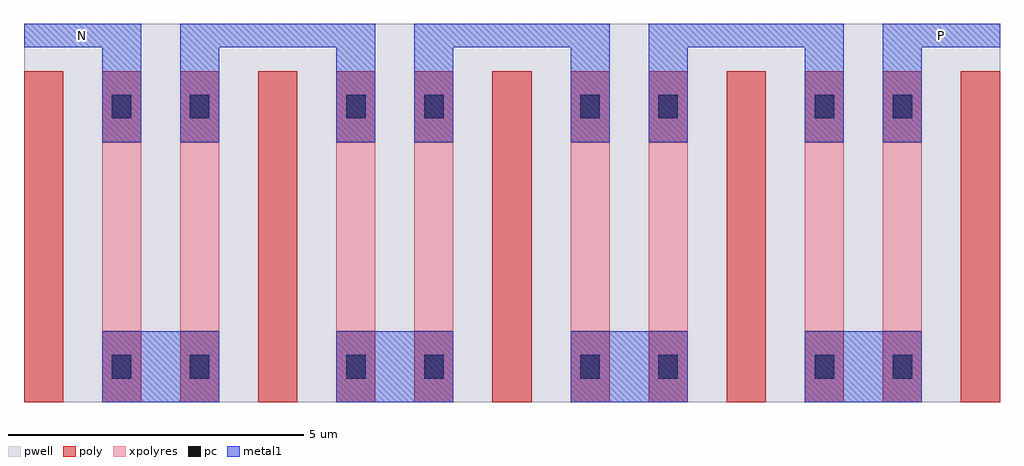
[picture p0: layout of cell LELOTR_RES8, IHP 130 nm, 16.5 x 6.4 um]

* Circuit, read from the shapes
.subckt LELOTR_RES8 N P
XR1 N n1 xpolyres w=0.66u l=3.2u
XR2 n2 n1 xpolyres w=0.66u l=3.2u
XR3 n2 n3 xpolyres w=0.66u l=3.2u
XR4 n4 n3 xpolyres w=0.66u l=3.2u
XR5 n4 n5 xpolyres w=0.66u l=3.2u
XR6 n6 n5 xpolyres w=0.66u l=3.2u
XR7 n6 n7 xpolyres w=0.66u l=3.2u
XR8 P n7 xpolyres w=0.66u l=3.2u
.ends

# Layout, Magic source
magic
tech ihp-sg13g2
magscale 1 2
<< poly >>
rect 198 -40 330 40
rect 462 -40 594 40
rect 990 -40 1122 40
rect 1254 -40 1386 40
rect 1782 -40 1914 40
rect 2046 -40 2178 40
rect 2574 -40 2706 40
rect 2838 -40 2970 40
rect 198 40 330 120
rect 462 40 594 120
rect 990 40 1122 120
rect 1254 40 1386 120
rect 1782 40 1914 120
rect 2046 40 2178 120
rect 2574 40 2706 120
rect 2838 40 2970 120
rect 198 120 330 200
rect 462 120 594 200
rect 990 120 1122 200
rect 1254 120 1386 200
rect 1782 120 1914 200
rect 2046 120 2178 200
rect 2574 120 2706 200
rect 2838 120 2970 200
rect 198 840 330 920
rect 462 840 594 920
rect 990 840 1122 920
rect 1254 840 1386 920
rect 1782 840 1914 920
rect 2046 840 2178 920
rect 2574 840 2706 920
rect 2838 840 2970 920
rect 198 920 330 1000
rect 462 920 594 1000
rect 990 920 1122 1000
rect 1254 920 1386 1000
rect 1782 920 1914 1000
rect 2046 920 2178 1000
rect 2574 920 2706 1000
rect 2838 920 2970 1000
rect 198 1000 330 1080
rect 462 1000 594 1080
rect 990 1000 1122 1080
rect 1254 1000 1386 1080
rect 1782 1000 1914 1080
rect 2046 1000 2178 1080
rect 2574 1000 2706 1080
rect 2838 1000 2970 1080
rect -66 -40 66 40
rect 726 -40 858 40
rect 1518 -40 1650 40
rect 2310 -40 2442 40
rect 3102 -40 3234 40
rect -66 40 66 120
rect 726 40 858 120
rect 1518 40 1650 120
rect 2310 40 2442 120
rect 3102 40 3234 120
rect -66 120 66 200
rect 726 120 858 200
rect 1518 120 1650 200
rect 2310 120 2442 200
rect 3102 120 3234 200
rect -66 200 66 280
rect 726 200 858 280
rect 1518 200 1650 280
rect 2310 200 2442 280
rect 3102 200 3234 280
rect -66 280 66 360
rect 726 280 858 360
rect 1518 280 1650 360
rect 2310 280 2442 360
rect 3102 280 3234 360
rect -66 360 66 440
rect 726 360 858 440
rect 1518 360 1650 440
rect 2310 360 2442 440
rect 3102 360 3234 440
rect -66 440 66 520
rect 726 440 858 520
rect 1518 440 1650 520
rect 2310 440 2442 520
rect 3102 440 3234 520
rect -66 520 66 600
rect 726 520 858 600
rect 1518 520 1650 600
rect 2310 520 2442 600
rect 3102 520 3234 600
rect -66 600 66 680
rect 726 600 858 680
rect 1518 600 1650 680
rect 2310 600 2442 680
rect 3102 600 3234 680
rect -66 680 66 760
rect 726 680 858 760
rect 1518 680 1650 760
rect 2310 680 2442 760
rect 3102 680 3234 760
rect -66 760 66 840
rect 726 760 858 840
rect 1518 760 1650 840
rect 2310 760 2442 840
rect 3102 760 3234 840
rect -66 840 66 920
rect 726 840 858 920
rect 1518 840 1650 920
rect 2310 840 2442 920
rect 3102 840 3234 920
rect -66 920 66 1000
rect 726 920 858 1000
rect 1518 920 1650 1000
rect 2310 920 2442 1000
rect 3102 920 3234 1000
rect -66 1000 66 1080
rect 726 1000 858 1080
rect 1518 1000 1650 1080
rect 2310 1000 2442 1080
rect 3102 1000 3234 1080
<< xpolyres >>
rect 198 200 330 280
rect 462 200 594 280
rect 990 200 1122 280
rect 1254 200 1386 280
rect 1782 200 1914 280
rect 2046 200 2178 280
rect 2574 200 2706 280
rect 2838 200 2970 280
rect 198 280 330 360
rect 462 280 594 360
rect 990 280 1122 360
rect 1254 280 1386 360
rect 1782 280 1914 360
rect 2046 280 2178 360
rect 2574 280 2706 360
rect 2838 280 2970 360
rect 198 360 330 440
rect 462 360 594 440
rect 990 360 1122 440
rect 1254 360 1386 440
rect 1782 360 1914 440
rect 2046 360 2178 440
rect 2574 360 2706 440
rect 2838 360 2970 440
rect 198 440 330 520
rect 462 440 594 520
rect 990 440 1122 520
rect 1254 440 1386 520
rect 1782 440 1914 520
rect 2046 440 2178 520
rect 2574 440 2706 520
rect 2838 440 2970 520
rect 198 520 330 600
rect 462 520 594 600
rect 990 520 1122 600
rect 1254 520 1386 600
rect 1782 520 1914 600
rect 2046 520 2178 600
rect 2574 520 2706 600
rect 2838 520 2970 600
rect 198 600 330 680
rect 462 600 594 680
rect 990 600 1122 680
rect 1254 600 1386 680
rect 1782 600 1914 680
rect 2046 600 2178 680
rect 2574 600 2706 680
rect 2838 600 2970 680
rect 198 680 330 760
rect 462 680 594 760
rect 990 680 1122 760
rect 1254 680 1386 760
rect 1782 680 1914 760
rect 2046 680 2178 760
rect 2574 680 2706 760
rect 2838 680 2970 760
rect 198 760 330 840
rect 462 760 594 840
rect 990 760 1122 840
rect 1254 760 1386 840
rect 1782 760 1914 840
rect 2046 760 2178 840
rect 2574 760 2706 840
rect 2838 760 2970 840
<< pc >>
rect 231 40 297 80
rect 231 80 297 120
rect 495 40 561 80
rect 495 80 561 120
rect 1023 40 1089 80
rect 1023 80 1089 120
rect 1287 40 1353 80
rect 1287 80 1353 120
rect 1815 40 1881 80
rect 1815 80 1881 120
rect 2079 40 2145 80
rect 2079 80 2145 120
rect 2607 40 2673 80
rect 2607 80 2673 120
rect 2871 40 2937 80
rect 2871 80 2937 120
rect 231 920 297 960
rect 231 960 297 1000
rect 495 920 561 960
rect 495 960 561 1000
rect 1023 920 1089 960
rect 1023 960 1089 1000
rect 1287 920 1353 960
rect 1287 960 1353 1000
rect 1815 920 1881 960
rect 1815 960 1881 1000
rect 2079 920 2145 960
rect 2079 960 2145 1000
rect 2607 920 2673 960
rect 2607 960 2673 1000
rect 2871 920 2937 960
rect 2871 960 2937 1000
<< metal1 >>
rect 198 -40 594 40
rect 990 -40 1386 40
rect 1782 -40 2178 40
rect 2574 -40 2970 40
rect 198 40 594 120
rect 990 40 1386 120
rect 1782 40 2178 120
rect 2574 40 2970 120
rect 198 120 594 200
rect 990 120 1386 200
rect 1782 120 2178 200
rect 2574 120 2970 200
rect 198 840 330 920
rect 462 840 594 920
rect 990 840 1122 920
rect 1254 840 1386 920
rect 1782 840 1914 920
rect 2046 840 2178 920
rect 2574 840 2706 920
rect 2838 840 2970 920
rect 198 920 330 1000
rect 462 920 594 1000
rect 990 920 1122 1000
rect 1254 920 1386 1000
rect 1782 920 1914 1000
rect 2046 920 2178 1000
rect 2574 920 2706 1000
rect 2838 920 2970 1000
rect 198 1000 330 1080
rect 462 1000 594 1080
rect 990 1000 1122 1080
rect 1254 1000 1386 1080
rect 1782 1000 1914 1080
rect 2046 1000 2178 1080
rect 2574 1000 2706 1080
rect 2838 1000 2970 1080
rect 198 1080 330 1160
rect 462 1080 594 1160
rect 990 1080 1122 1160
rect 1254 1080 1386 1160
rect 1782 1080 1914 1160
rect 2046 1080 2178 1160
rect 2574 1080 2706 1160
rect 2838 1080 2970 1160
rect -66 1160 330 1240
rect -66 1160 330 1240
rect 462 1160 1122 1240
rect 2838 1160 3234 1240
rect 1254 1160 1914 1240
rect 2046 1160 2706 1240
rect 2838 1160 3234 1240
<< pwell >>
rect -66 -40 3234 1240
<< labels >>
flabel metal1 s -66 1160 330 1240 0 FreeSans 400 0 0 0 N
port 1 nsew signal bidirectional
flabel metal1 s 2838 1160 3234 1240 0 FreeSans 400 0 0 0 P
port 2 nsew signal bidirectional
<< properties >>
string FIXED_BBOX 0 0 3168 1200
<< end >>
